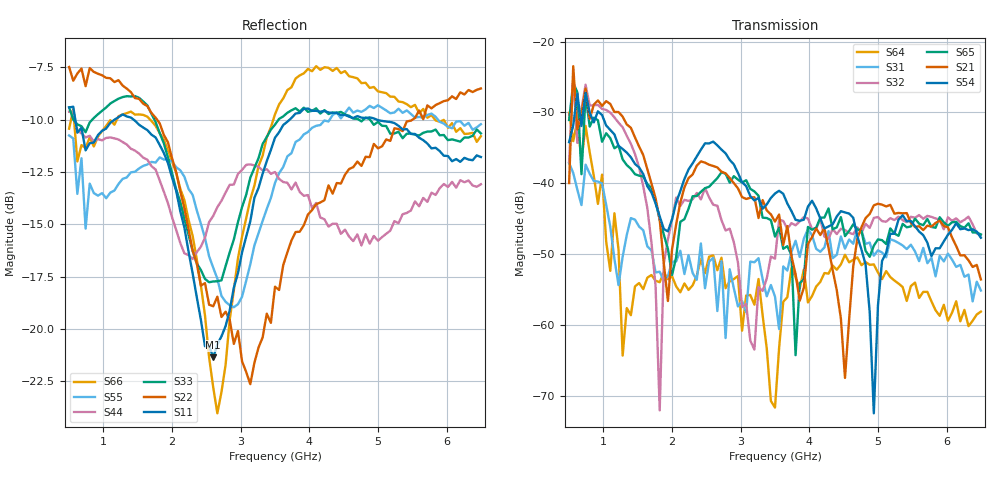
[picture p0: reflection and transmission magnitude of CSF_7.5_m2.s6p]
!Keysight Technologies,M9804A,MY58100912,A.14.10.03
!Date: Thursday, April 27, 2023 10:28:33
!Correction: S11(C  6-Port  )
!S12(C  6-Port  )
!S13(C  6-Port  )
!S14(C  6-Port  )
!S15(C  6-Port  )
!S16(C  6-Port  )
!S21(C  6-Port  )
!S22(C  6-Port  )
!S23(C  6-Port  )
!S24(C  6-Port  )
!S25(C  6-Port  )
!S26(C  6-Port  )
!S31(C  6-Port  )
!S32(C  6-Port  )
!S33(C  6-Port  )
!S34(C  6-Port  )
!S35(C  6-Port  )
!S36(C  6-Port  )
!S41(C  6-Port  )
!S42(C  6-Port  )
!S43(C  6-Port  )
!S44(C  6-Port  )
!S45(C  6-Port  )
!S46(C  6-Port  )
!S51(C  6-Port  )
!S52(C  6-Port  )
!S53(C  6-Port  )
!S54(C  6-Port  )
!S55(C  6-Port  )
!S56(C  6-Port  )
!S61(C  6-Port  )
!S62(C  6-Port  )
!S63(C  6-Port  )
!S64(C  6-Port  )
!S65(C  6-Port  )
!S66(C  6-Port  )
!S6P File: Measurement: :
# Hz S  RI  R 50
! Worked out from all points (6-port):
!   101 points, 500 MHz to 6.5 GHz, reference 50 ohm
!   strongest paths, dB at 500 MHz, 2 GHz, 3.5 GHz, 5 GHz, 6.5 GHz:
!     S54: -34.2, -45.1, -41.5, -57.3, -47.7
!     S21: -40.0, -49.3, -45.4, -42.9, -53.6
!     S65: -31.1, -53.0, -47.5, -47.9, -47.2
!     S32: -37.0, -45.2, -50.7, -44.8, -47.3
!     S31: -37.1, -51.1, -56.0, -49.5, -55.2
!     S64: -30.1, -53.1, -71.7, -52.6, -58.1
!   lowest |S11| = -21.4 dB at 2.6 GHz (marker M1), VSWR 1.19, Z = 42.4 + j2.25 ohm
!   |S11| at or under -10 dB: 589.5 MHz to 1.166 GHz (576 MHz wide, 65.6 % of centre); 1.437 GHz to 3.716 GHz (2.278 GHz wide, 88.4 % of centre); 4.978 GHz to end of sweep
